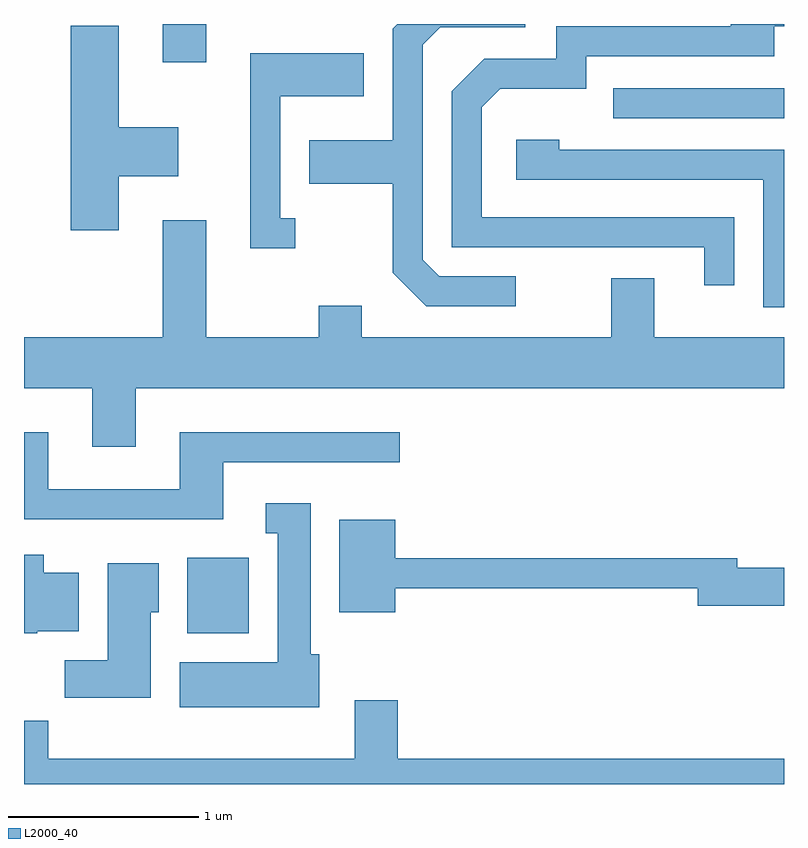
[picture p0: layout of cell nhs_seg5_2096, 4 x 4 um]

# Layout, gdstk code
import gdstk
lib = gdstk.Library(unit=1e-6, precision=1e-09)
def R(c, l, rs):  # rectangles x0, y0, x1, y1
    for r in rs: c.add(gdstk.rectangle(r[:2], r[2:], *l))
def P(c, l, *ps):  # polygons
    for p in ps: c.add(gdstk.Polygon(p, *l))
L2000_40 = (2000, 40)

nhs_seg5_2096 = lib.new_cell('nhs_seg5_2096')
R(nhs_seg5_2096, L2000_40, [(248.471,1428.866,248.794,1429.264), (250.713,1431.576,251.611,1431.734), (248.341,1431.871,248.569,1432.072)])
P(nhs_seg5_2096, L2000_40, [(251.349,1431.054),(250.019,1431.054),(250.019,1431.634),(250.117,1431.731),(250.569,1431.731),(250.569,1431.901),(251.559,1431.901),(251.559,1432.061),(251.611,1432.061),(251.611,1432.072),(251.331,1432.072),(251.331,1432.059),(250.411,1432.059),(250.411,1431.889),(250.034,1431.889),(249.861,1431.717),(249.861,1430.896),(251.191,1430.896),(251.191,1430.698),(251.349,1430.698)],
  [(250.198,1430.744),(249.797,1430.744),(249.709,1430.832),(249.709,1431.964),(249.802,1432.056),(250.248,1432.056),(250.248,1432.072),(249.576,1432.072),(249.551,1432.047),(249.551,1431.459),(249.111,1431.459),(249.111,1431.231),(249.551,1431.231),(249.551,1430.764),(249.729,1430.586),(250.198,1430.586)],
  [(248.109,1431.271),(248.424,1431.271),(248.424,1431.529),(248.109,1431.529),(248.109,1432.064),(247.856,1432.064),(247.856,1430.986),(248.109,1430.986)],
  [(249.038,1431.049),(248.959,1431.049),(248.959,1431.691),(249.399,1431.691),(249.399,1431.919),(248.801,1431.919),(248.801,1430.891),(249.038,1430.891)],
  [(251.611,1431.409),(250.429,1431.409),(250.429,1431.464),(250.201,1431.464),(250.201,1431.251),(251.501,1431.251),(251.501,1430.581),(251.611,1430.581)],
  [(248.199,1430.156),(251.611,1430.156),(251.611,1430.424),(250.929,1430.424),(250.929,1430.734),(250.701,1430.734),(250.701,1430.424),(249.389,1430.424),(249.389,1430.589),(249.161,1430.589),(249.161,1430.424),(248.569,1430.424),(248.569,1431.039),(248.341,1431.039),(248.341,1430.424),(247.611,1430.424),(247.611,1430.156),(247.971,1430.156),(247.971,1429.846),(248.199,1429.846)],
  [(248.659,1429.766),(249.588,1429.766),(249.588,1429.924),(248.431,1429.924),(248.431,1429.624),(247.739,1429.624),(247.739,1429.924),(247.611,1429.924),(247.611,1429.466),(248.659,1429.466)],
  [(249.164,1428.754),(249.119,1428.754),(249.119,1429.549),(248.883,1429.549),(248.883,1429.391),(248.946,1429.391),(248.946,1428.714),(248.431,1428.714),(248.431,1428.476),(249.164,1428.476)],
  [(249.564,1429.101),(251.156,1429.101),(251.156,1429.011),(251.611,1429.011),(251.611,1429.209),(251.364,1429.209),(251.364,1429.259),(249.564,1429.259),(249.564,1429.464),(249.271,1429.464),(249.271,1428.976),(249.564,1428.976)],
  [(247.68,1428.876),(247.899,1428.876),(247.899,1429.184),(247.714,1429.184),(247.714,1429.279),(247.611,1429.279),(247.611,1428.866),(247.68,1428.866)],
  [(248.279,1428.976),(248.319,1428.976),(248.319,1429.234),(248.051,1429.234),(248.051,1428.724),(247.826,1428.724),(247.826,1428.526),(248.279,1428.526)],
  [(251.611,1428.204),(249.579,1428.204),(249.579,1428.514),(249.351,1428.514),(249.351,1428.204),(247.739,1428.204),(247.739,1428.404),(247.611,1428.404),(247.611,1428.072),(251.611,1428.072)])

lib.write_gds('nhs_seg5_2096.gds')
